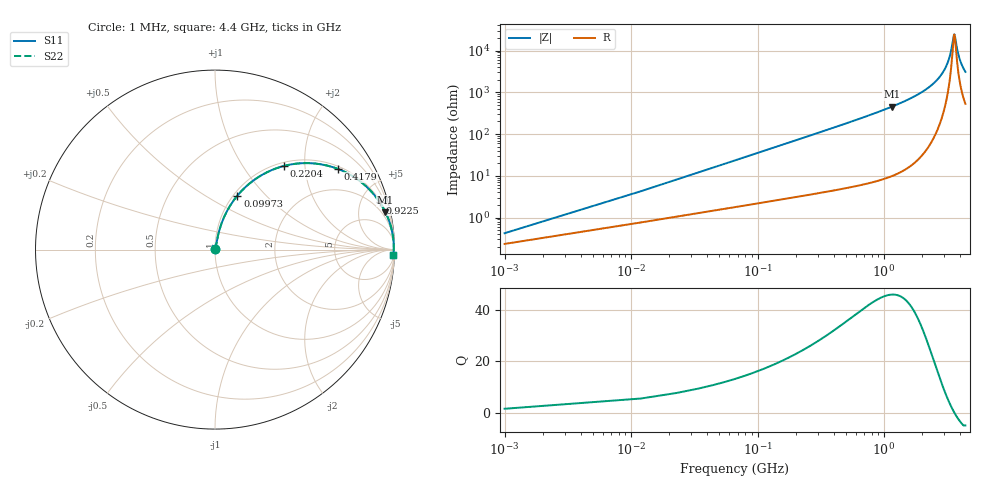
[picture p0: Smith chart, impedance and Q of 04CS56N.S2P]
! Coilcraft 0402CS-56N Chip Inductor
! 22 July 2002
# MHZ S MA R 50
!Freq  MagS11  AngS11  MagS21  AngS21  MagS12  AngS12  MagS22  AngS22
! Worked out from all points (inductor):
!   403 points, 1 MHz to 4.4 GHz, reference 50 ohm
!   read as one part in series: L = 56 nH near 22.94 MHz
!   highest Q = 46 at 1.153 GHz (marker M1), where L = 62.4 nH
!   self-resonance near 3.588 GHz
!   S11 on the Smith chart (normalised r, x): 1 MHz: 1.00, +0.01; 99.73 MHz: 1.04, +0.70; 220.4 MHz: 1.06, +1.56; 417.9 MHz: 1.09, +2.98; 922.5 MHz: 1.16, +6.95; 4.4 GHz: 12, -61
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1  0.004216 56.2  0.9977 -0.2  0.9977 -0.2  0.004216 56.2
33.91  0.1177 77.2  0.9806 -6.7  0.9806 -6.7  0.1177 77.2
55.85  0.1905 74.3  0.966 -10.9  0.966 -10.9  0.1905 74.3
99.73  0.3257 67.5  0.9255 -19.0  0.9255 -19.0  0.3257 67.5
154.58  0.4692 59.2  0.86 -27.9  0.86 -27.9  0.4692 59.2
220.4  0.6025 50.6  0.7734 -37.0  0.7734 -37.0  0.6025 50.6
417.86  0.819 33.3  0.5493 -54.9  0.5493 -54.9  0.819 33.3
735.99  0.9306 20.1  0.3442 -68.5  0.3442 -68.5  0.9306 20.1
922.48  0.9553 16.0  0.2749 -72.8  0.2749 -72.8  0.9553 16.0
1152.85  0.972 12.4  0.2149 -76.3  0.2149 -76.3  0.972 12.4
1470.98  0.9838 9.1  0.1583 -79.6  0.1583 -79.6  0.9838 9.1
2205.97  0.9939 4.6  0.0799 -83.3  0.0799 -83.3  0.9939 4.6
2940.96  0.9962 1.8  0.03207 -82.3  0.03207 -82.3  0.9962 1.8
3292  0.9962 0.8  0.01446 -74.4  0.01446 -74.4  0.9962 0.8
3401.7  0.9961 0.5  0.009609 -66.0  0.009609 -66.0  0.9961 0.5
3566.25  0.9959 0.1  0.004288 -18.8  0.004288 -18.8  0.9959 0.1
3610.13  0.9959 -0.0  0.004156 7.3  0.004156 7.3  0.9959 -0.0
3675.95  0.9958 -0.2  0.005401 38.4  0.005401 38.4  0.9958 -0.2
3807.59  0.9955 -0.5  0.009937 63.0  0.009937 63.0  0.9955 -0.5
3961.17  0.9952 -0.9  0.01582 71.9  0.01582 71.9  0.9952 -0.9
4158.63  0.9947 -1.3  0.02333 76.2  0.02333 76.2  0.9947 -1.3
4400  0.994 -1.8  0.0322 78.3  0.0322 78.3  0.994 -1.8
